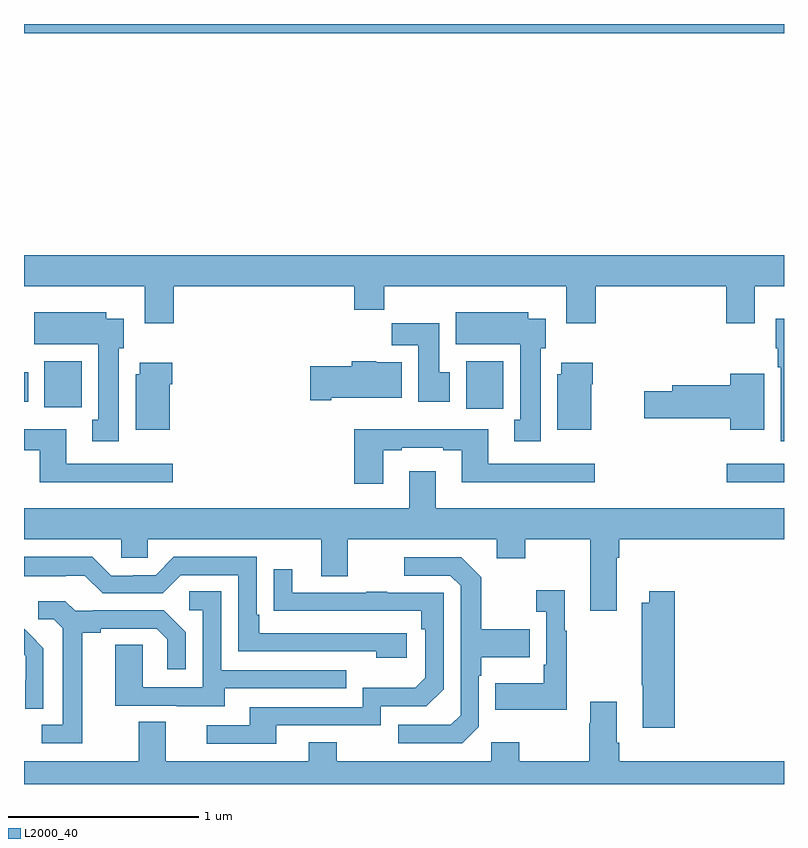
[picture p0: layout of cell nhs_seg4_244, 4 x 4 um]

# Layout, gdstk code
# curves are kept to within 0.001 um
import gdstk
lib = gdstk.Library(unit=1e-6, precision=1e-09)
def R(c, l, rs):  # rectangles x0, y0, x1, y1
    for r in rs: c.add(gdstk.rectangle(r[:2], r[2:], *l))
def P(c, l, *ps):  # polygons
    for p in ps: c.add(gdstk.Polygon(p, *l))
L2000_40 = (2000, 40)

nhs_seg4_244 = lib.new_cell('nhs_seg4_244')
R(nhs_seg4_244, L2000_40, [(126.699,762.488,127,762.585), (125.327,762.876,125.523,763.126), (123.107,762.884,123.304,763.126), (123,762.912,123.022,763.068), (123,764.852,127,764.9)])
P(nhs_seg4_244, L2000_40, [(123.788,763.52),(124.739,763.52),(124.739,763.396),(124.895,763.396),(124.895,763.52),(125.855,763.52),(125.855,763.326),(126.008,763.326),(126.008,763.52),(126.695,763.52),(126.695,763.326),(126.847,763.326),(126.847,763.52),(127,763.52),(127,763.684),(123,763.684),(123,763.52),(123.635,763.52),(123.635,763.326),(123.788,763.326)],
  [(123.499,763.194),(123.526,763.194),(123.526,763.348),(123.433,763.348),(123.433,763.384),(123.053,763.384),(123.053,763.214),(123.392,763.214),(123.392,762.818),(123.359,762.818),(123.359,762.705),(123.499,762.705)],
  [(125.719,763.194),(125.746,763.194),(125.746,763.348),(125.653,763.348),(125.653,763.384),(125.273,763.384),(125.273,763.214),(125.612,763.214),(125.612,762.817),(125.579,762.817),(125.579,762.705),(125.719,762.705)],
  [(127,763.348),(126.956,763.348),(126.956,763.194),(126.968,763.194),(126.968,763.094),(126.983,763.094),(126.983,762.705),(127,762.705)],
  [(125.242,763.068),(125.185,763.068),(125.185,763.326),(124.936,763.326),(124.936,763.208),(125.075,763.208),(125.075,762.912),(125.242,762.912)],
  [(124.618,762.932),(124.987,762.932),(124.987,763.12),(124.854,763.12),(124.854,763.126),(124.724,763.126),(124.724,763.098),(124.506,763.098),(124.506,762.92),(124.618,762.92)],
  [(123.766,763.004),(123.779,763.004),(123.779,763.117),(123.608,763.117),(123.608,763.056),(123.587,763.056),(123.587,762.764),(123.766,762.764)],
  [(125.986,763.004),(125.994,763.004),(125.994,763.117),(125.828,763.117),(125.828,763.056),(125.807,763.056),(125.807,762.764),(125.986,762.764)],
  [(126.895,763.06),(126.716,763.06),(126.716,762.998),(126.413,762.998),(126.413,762.968),(126.264,762.968),(126.264,762.826),(126.716,762.826),(126.716,762.764),(126.895,762.764)],
  [(123.784,762.585),(123.223,762.585),(123.223,762.766),(123,762.766),(123,762.657),(123.083,762.657),(123.083,762.488),(123.784,762.488)],
  [(124.891,762.657),(124.987,762.657),(124.987,762.669),(125.207,762.669),(125.207,762.657),(125.303,762.657),(125.303,762.488),(126.004,762.488),(126.004,762.585),(125.443,762.585),(125.443,762.766),(124.739,762.766),(124.739,762.48),(124.891,762.48)],
  [(125.027,762.547),(125.027,762.352),(123,762.352),(123,762.188),(123.513,762.188),(123.513,762.09),(123.651,762.09),(123.651,762.188),(124.565,762.188),(124.565,761.994),(124.705,761.994),(124.705,762.188),(125.489,762.188),(125.489,762.089),(125.637,762.089),(125.637,762.188),(125.981,762.188),(125.981,761.811),(126.121,761.811),(126.121,762.092),(126.134,762.092),(126.134,762.188),(127,762.188),(127,762.352),(125.167,762.352),(125.167,762.547)],
  [(125.014,761.694),(124.237,761.694),(124.237,761.791),(124.224,761.791),(124.224,762.096),(123.789,762.096),(123.693,762),(123.575,762),(123.575,761.997),(123.459,761.997),(123.359,762.097),(123,762.097),(123,761.993),(123.221,761.993),(123.221,761.997),(123.321,761.997),(123.414,761.904),(123.729,761.904),(123.825,762),(124.128,762),(124.128,761.598),(124.853,761.598),(124.853,761.564),(125.014,761.564)],
  [(125.394,761.202),(125.394,761.471),(125.407,761.471),(125.407,761.567),(125.663,761.567),(125.663,761.715),(125.407,761.715),(125.407,761.987),(125.301,762.093),(125.001,762.093),(125.001,761.997),(125.244,761.997),(125.298,761.943),(125.298,761.262),(125.247,761.211),(124.971,761.211),(124.971,761.115),(125.307,761.115)],
  [(124.327,761.208),(124.878,761.208),(124.878,761.31),(125.118,761.31),(125.208,761.4),(125.208,761.907),(124.913,761.907),(124.913,761.912),(124.801,761.912),(124.801,761.907),(124.411,761.907),(124.411,762.031),(124.315,762.031),(124.315,761.812),(125.092,761.811),(125.092,761.714),(125.112,761.714),(125.112,761.46),(125.059,761.407),(124.782,761.407),(124.782,761.304),(124.187,761.304),(124.187,761.208),(123.963,761.208),(123.963,761.112),(124.327,761.112)],
  [(125.857,761.707),(125.845,761.707),(125.845,761.92),(125.697,761.92),(125.697,761.807),(125.748,761.807),(125.748,761.527),(125.736,761.527),(125.736,761.431),(125.479,761.431),(125.479,761.291),(125.857,761.291)],
  [(124.057,761.403),(124.697,761.403),(124.697,761.499),(124.038,761.499),(124.038,761.915),(123.87,761.915),(123.87,761.814),(123.942,761.814),(123.942,761.409),(123.624,761.409),(123.624,761.633),(123.479,761.633),(123.479,761.313),(123.803,761.313),(123.803,761.309),(124.057,761.309)],
  [(126.425,761.914),(126.29,761.914),(126.29,761.854),(126.25,761.854),(126.25,761.419),(126.257,761.419),(126.257,761.196),(126.425,761.196)],
  [(123.307,761.696),(123.403,761.696),(123.403,761.718),(123.698,761.718),(123.755,761.661),(123.755,761.505),(123.852,761.505),(123.852,761.698),(123.736,761.814),(123.364,761.814),(123.364,761.811),(123.27,761.811),(123.218,761.863),(123.075,761.863),(123.075,761.766),(123.156,761.766),(123.203,761.719),(123.203,761.211),(123.093,761.211),(123.093,761.115),(123.307,761.115)],
  [(123.102,761.614),(123.029,761.687),(123.03,761.688),(123,761.718),(123,761.581),(123.008,761.573),(123.008,761.45),(123.006,761.45),(123.006,761.296),(123.102,761.296)],
  [(127,761.02),(126.134,761.02),(126.134,761.116),(126.121,761.116),(126.121,761.332),(125.981,761.332),(125.981,761.219),(125.974,761.219),(125.974,761.02),(125.607,761.02),(125.607,761.119),(125.46,761.119),(125.46,761.02),(124.647,761.02),(124.647,761.119),(124.499,761.119),(124.499,761.02),(123.745,761.02),(123.745,761.228),(123.605,761.228),(123.605,761.02),(123,761.02),(123,760.9),(127,760.9)])

lib.write_gds('nhs_seg4_244.gds')
